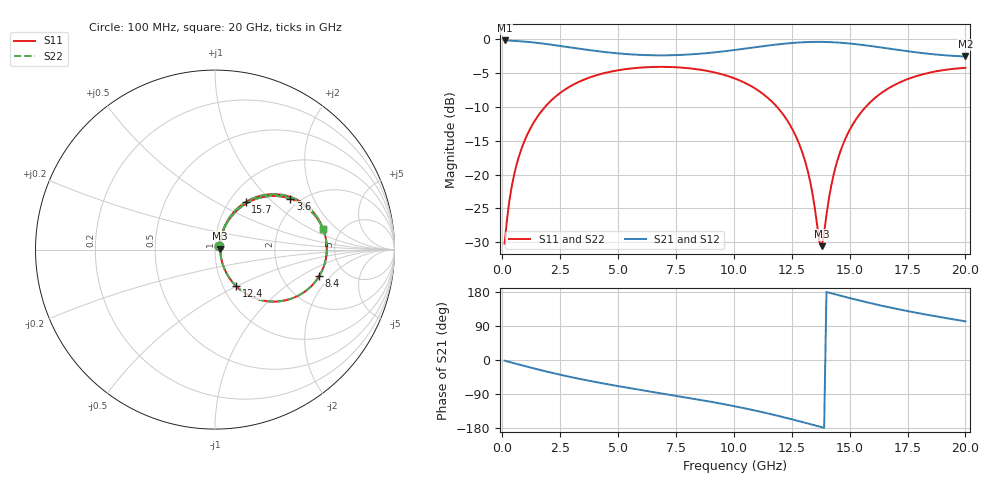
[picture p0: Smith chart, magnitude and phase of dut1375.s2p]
! Touchstone file exported from HFSS 2026.1.0
!  File:  C:/ffzhzh/LocalFiles/Ansys_Project_Files/temp_train_TSV_RDL_1375_1783346825_46376.aedt
!  Generated:  10:21:57 PM Jul  6, 2026
!  Design:  TSV_RDL
!  Project:  temp_train_TSV_RDL_1375_1783346825_46376
! Variables:
!  h_bsmrdl = 5.67um
!  h_ox = 20um
!  h_rdl = 5um
!  h_sub = 53.72um
!  h_tmrdl = 3.39um
!  h_tsv = 53.72um
!  h_via = 3um
!  l_bsmrdl = 121.42um
!  l_sub = 4591.99um
!  l_tmrdl = 924.66um
!  m_sub = 200um
!  pitch = 52.8um
!  r_tsv = 5.31um
!  s_tmrdl = 10um
!  w_bsmrdl = 24.64um
!  w_sub = 500um
!  w_tmrdl = 18.39um
!  x_tsv_center1 = 933.855um
!  x_tsv_center2 = 1079.915um
!  x_tsv_center3 = 2022.965um
!  x_tsv_center4 = 2169.025um
!  x_tsv_center5 = 3112.075um
!  x_tsv_center6 = 3258.135um
# GHz S MA R 50.000000
! Terminal data exported
! Port[1] = TM_RDL1_1_T1
! Port[2] = TM_RDL5_1_T1
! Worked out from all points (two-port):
!   200 points, 100 MHz to 20 GHz, reference 50 ohm
!   highest |S21| = -0.21 dB at 100 MHz (marker M1); lowest = -2.6 dB at 20 GHz (marker M2)
!   |S21| within 3 dB of the highest: start of sweep to end of sweep
!   lowest |S11| = -30.6 dB at 13.8 GHz (marker M3), VSWR 1.06, Z = 53 + j0.65 ohm
!   |S11| at or under -10 dB: start of sweep to 1.852 GHz; 11.86 GHz to 15.7 GHz (3.845 GHz wide, 27.9 % of centre)
!   |S22| runs from -30.6 to -4.1 dB; largest |S21 - S12| = 1.6e-14
!   S11 on the Smith chart (normalised r, x): 100 MHz: 1.05, +0.04; 3.6 GHz: 1.78, +1.36; 8.4 GHz: 3.23, -1.50; 12.4 GHz: 1.15, -0.50; 15.7 GHz: 1.19, +0.70; 20 GHz: 3.65, +1.33
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0.1  0.03083 37.9  0.9761 -1.7  0.9761 -1.7  0.03083 37.9
! Gamma 0 0 0 0
! Port Impedance 50 0 50 0
0.3  0.06302 61.4  0.9732 -5.1  0.9732 -5.1  0.06302 61.4
0.5  0.09794 66.0  0.9693 -8.4  0.9693 -8.4  0.09794 66.0
1.1  0.2004 64.0  0.9526 -18.1  0.9526 -18.1  0.2004 64.0
2.1  0.3503 52.3  0.9093 -33.2  0.9093 -33.2  0.3503 52.3
3.5  0.4993 35.2  0.8398 -51.8  0.8398 -51.8  0.4993 35.2
3.6  0.5073 34.0  0.8353 -53.1  0.8353 -53.1  0.5073 34.0
6.8  0.6231 1.2  0.7579 -87.3  0.7579 -87.3  0.6231 1.2
8.4  0.5987 -14.4  0.7758 -103.6  0.7758 -103.6  0.5987 -14.4
10.1  0.5068 -32.5  0.8328 -122.9  0.8328 -122.9  0.5068 -32.5
11.4  0.3764 -48.0  0.8916 -140.0  0.8916 -140.0  0.3763 -48.1
12.4  0.236 -59.8  0.9316 -154.9  0.9316 -154.9  0.236 -59.9
13  0.1384 -64.0  0.9471 -164.3  0.9471 -164.3  0.1384 -64.1
13.4  0.07172 -58.6  0.9522 -170.8  0.9522 -170.8  0.07168 -58.6
13.7  0.03156 -20.1  0.953 -175.7  0.953 -175.7  0.03149 -20.2
13.8  0.02959 12.0  0.9527 -177.3  0.9527 -177.3  0.02952 12.0
14.2  0.08167 64.0  0.9483 176.2  0.9483 176.2  0.08164 64.1
14.5  0.1315 67.4  0.9421 171.4  0.9421 171.4  0.1315 67.4
15  0.2128 64.7  0.9268 163.5  0.9268 163.5  0.2128 64.7
15.7  0.316 57.0  0.8978 153.0  0.8978 153.0  0.316 57.0
16.7  0.4349 45.1  0.8498 139.1  0.8498 139.1  0.4349 45.1
20  0.6128 10.7  0.7435 102.0  0.7435 102.0  0.6128 10.7
